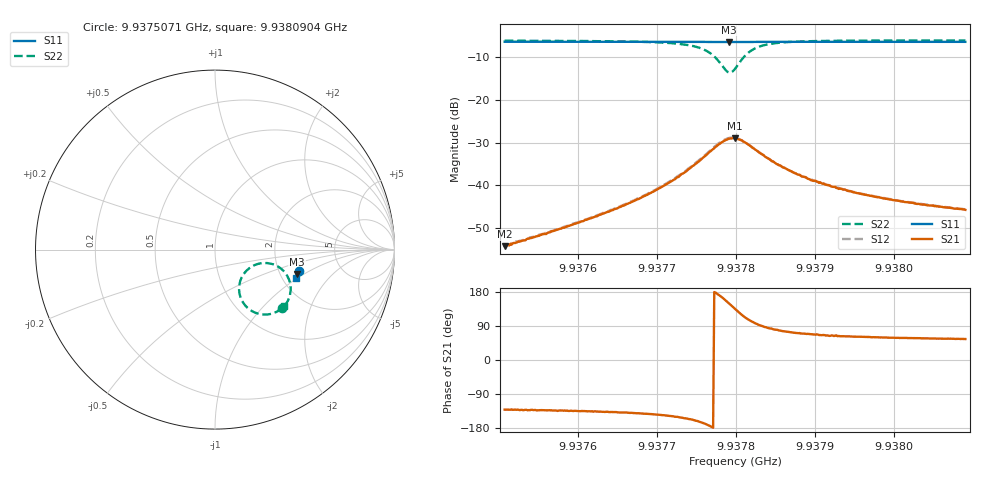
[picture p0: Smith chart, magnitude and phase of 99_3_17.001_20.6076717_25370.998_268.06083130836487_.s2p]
#  HZ  S  RI  R  50.00
! Rohde & Schwarz Vector Network Analyzer
! Rohde-Schwarz,ZNB20-2Port,1311601062101988,3.16
! Created: UTC 3/20/2024, 10:56:28 PM
! freq[Hz]  re:S11  im:S11  re:S21  im:S21  re:S12  im:S12  re:S22  im:S22
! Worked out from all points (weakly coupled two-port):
!   401 points, 9.9375071 GHz to 9.9380904 GHz, reference 50 ohm
!   highest |S21| = -28.94 dB at 9.9377988 GHz (marker M1); lowest = -54.2 dB at 9.9375071 GHz (marker M2)
!   lowest |S11| = -6.4 dB at 9.9377915 GHz (marker M3), VSWR 2.82, Z = 123 - j43.6 ohm
!   |S11| at or under -10 dB: nowhere
!   |S22| runs from -13.6 to -6.0 dB; largest |S21 - S12| = 0.0019
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9.93750714e9  0.4674 -0.1198  -0.00128 -0.00147  -0.00133 -0.00149  0.373 -0.3265
9.93756109e9  0.4662 -0.1235  -0.00188 -0.00203  -0.00196 -0.00203  0.3649 -0.3328
9.93760484e9  0.4652 -0.1264  -0.00267 -0.00271  -0.00275 -0.00269  0.3557 -0.3392
9.93765733e9  0.4637 -0.1301  -0.00436 -0.00384  -0.0045 -0.00384  0.3381 -0.3487
9.93770254e9  0.4625 -0.1333  -0.00752 -0.00536  -0.00778 -0.00531  0.3086 -0.3588
9.93773025e9  0.4613 -0.1354  -0.0118 -0.0063  -0.0121 -0.00603  0.2721 -0.3619
9.93775795e9  0.4597 -0.1371  -0.0204 -0.00507  -0.0211 -0.00472  0.2019 -0.3403
9.93776962e9  0.4586 -0.1376  -0.026 -0.00147  -0.0268 -0.000633  0.161 -0.3017
9.93777983e9  0.4576 -0.1376  -0.0303 0.00569  -0.0311 0.007  0.1354 -0.2364
9.93778712e9  0.4572 -0.1372  -0.0314 0.0132  -0.0315 0.0149  0.1412 -0.1734
9.93779149e9  0.4571 -0.1368  -0.0302 0.0182  -0.0299 0.0201  0.1602 -0.1358
9.93779441e9  0.4572 -0.1366  -0.0285 0.0212  -0.0281 0.0231  0.179 -0.1141
9.93779878e9  0.4575 -0.1364  -0.0252 0.0254  -0.0242 0.0268  0.2137 -0.0896
9.93780607e9  0.4581 -0.1363  -0.0177 0.029  -0.0166 0.0299  0.2781 -0.0747
9.93781336e9  0.4585 -0.1365  -0.0107 0.0292  -0.00947 0.0298  0.3327 -0.0853
9.93782066e9  0.459 -0.1371  -0.00527 0.0273  -0.00439 0.0278  0.3707 -0.1084
9.9378294e9  0.4594 -0.1379  -0.00104 0.0243  -0.000288 0.0245  0.3982 -0.139
9.93785711e9  0.4597 -0.1405  0.00373 0.0165  0.00414 0.0162  0.4217 -0.2102
9.93789648e9  0.4589 -0.1437  0.00433 0.0106  0.00464 0.0107  0.4167 -0.2573
9.93794606e9  0.4577 -0.1473  0.00401 0.0075  0.00413 0.00748  0.4065 -0.2842
9.93799418e9  0.4565 -0.1505  0.00355 0.00589  0.00367 0.0059  0.3985 -0.2984
9.93809043e9  0.4539 -0.1569  0.00295 0.00427  0.00305 0.0043  0.3868 -0.3146
